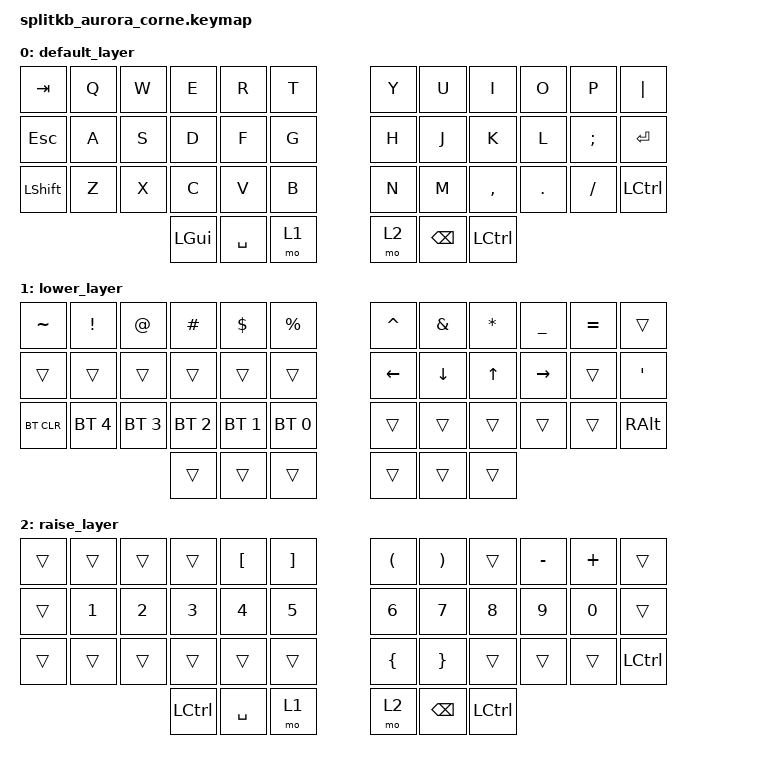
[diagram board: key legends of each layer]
#include <behaviors.dtsi>
#include <dt-bindings/zmk/keys.h>
#include <dt-bindings/zmk/bt.h>
/ {
        keymap {
                compatible = "zmk,keymap";
                default_layer {
                        bindings = <
                 &kp TAB   &kp Q &kp W &kp E &kp R &kp T          &kp Y &kp U  &kp I     &kp O   &kp P    &kp PIPE
                 &kp ESC   &kp A &kp S &kp D &kp F &kp G          &kp H &kp J  &kp K     &kp L   &kp SEMI &kp RET
                 &kp LSHFT &kp Z &kp X &kp C &kp V &kp B          &kp N &kp M  &kp COMMA &kp DOT &kp FSLH &kp LCTRL
                               &kp LGUI &kp SPACE  &mo 1          &mo 2 &kp BSPC &kp LCTRL
                        >;
                };
                lower_layer {
                        bindings = <
    &kp TILDE   &kp EXCL     &kp AT       &kp HASH     &kp DLLR     &kp PRCNT         &kp CARET &kp AMPS &kp ASTRK &kp UNDER &kp EQUAL &trans
    &trans      &trans       &trans       &trans       &trans       &trans            &kp LEFT  &kp DOWN &kp UP    &kp RIGHT &trans    &kp QUOT
    &bt BT_CLR  &bt BT_SEL 4 &bt BT_SEL 3 &bt BT_SEL 2 &bt BT_SEL 1 &bt BT_SEL 0      &trans    &trans   &trans    &trans    &trans    &kp RALT
                                          &trans       &trans       &trans            &trans    &trans   &trans
                        >;
                };
                raise_layer {
                        bindings = <
                &trans &trans &trans &trans &kp LBKT &kp RBKT       &kp LPAR &kp RPAR &trans &kp MINUS &kp PLUS &trans
                &trans &kp N1 &kp N2 &kp N3 &kp N4   &kp N5         &kp N6   &kp N7   &kp N8 &kp N9    &kp N0   &trans 
                &trans &trans &trans &trans &trans   &trans         &kp LBRC &kp RBRC &trans &trans    &trans   &kp LCTRL
                                 &kp LCTRL &kp SPACE  &mo 1          &mo 2 &kp BSPC &kp LCTRL
                        >;
                };
        };
};


